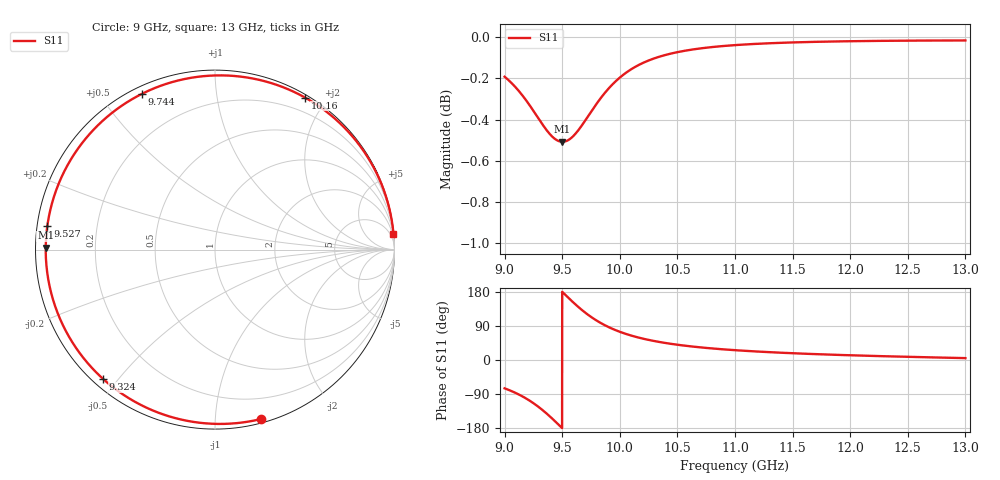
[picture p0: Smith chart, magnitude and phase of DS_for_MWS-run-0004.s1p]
! TOUCHSTONE file generated by CST DESIGN STUDIO
! Date and time: Tue Feb  4 16:01:38 2025
! Project name: C:\Work\MatlabApps\UnitCellOptimizationMatlab\CST\unitcell.cst
! Tree item: Tasks\Sweep1\SPara1\S-Parameters
! Header version: 2024
! Port assignment regex: !\s*Touchstone port\s*([0-9]+)\s*=\s*(CST MWS port|CST DES external port|CST DES block port)\s*(.+)\s* \(\"(.*)\"\)(\s*mode\s*([0-9]+))?.*
! Touchstone port assignment:
! Touchstone port 1 = CST DES external port 1 ("")
# GHz S MA R 50
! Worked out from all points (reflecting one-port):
!   4001 points, 9 GHz to 13 GHz, reference 50 ohm
!   lowest |S11| = -0.5 dB at 9.502 GHz (marker M1), VSWR 34.22, Z = 1.46 + j0.261 ohm
!   phase of S11 starts at -75 deg and turns -280 deg over the sweep
!   S11 on the Smith chart (normalised r, x): 9 GHz: 0.03, -1.31; 9.324 GHz: 0.03, -0.46; 9.527 GHz: 0.03, +0.07; 9.744 GHz: 0.03, +0.64; 10.16 GHz: 0.03, +1.75; 13 GHz: 0, +23
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9  0.9782 -74.8
9.085  0.9731 -85.4
9.187  0.9653 -101.6
9.258  0.959 -115.6
9.324  0.9529 -130.8
9.371  0.9489 -142.9
9.42  0.9456 -156.5
9.461  0.9438 -168.4
9.5  0.9432 180.0
9.502  0.9432 179.4
9.527  0.9434 172.0
9.58  0.9453 156.5
9.64  0.9493 139.9
9.691  0.9537 127.1
9.744  0.9586 115.0
9.796  0.9633 104.5
9.854  0.9681 94.3
9.926  0.9733 83.6
10  0.9777 74.4
10.16  0.9845 59.4
10.314  0.9886 49.2
10.5  0.9917 40.3
10.722  0.994 32.7
11  0.9957 25.9
11.5  0.9972 17.9
12  0.9978 12.5
12.5  0.9981 8.4
13  0.9983 5.0
